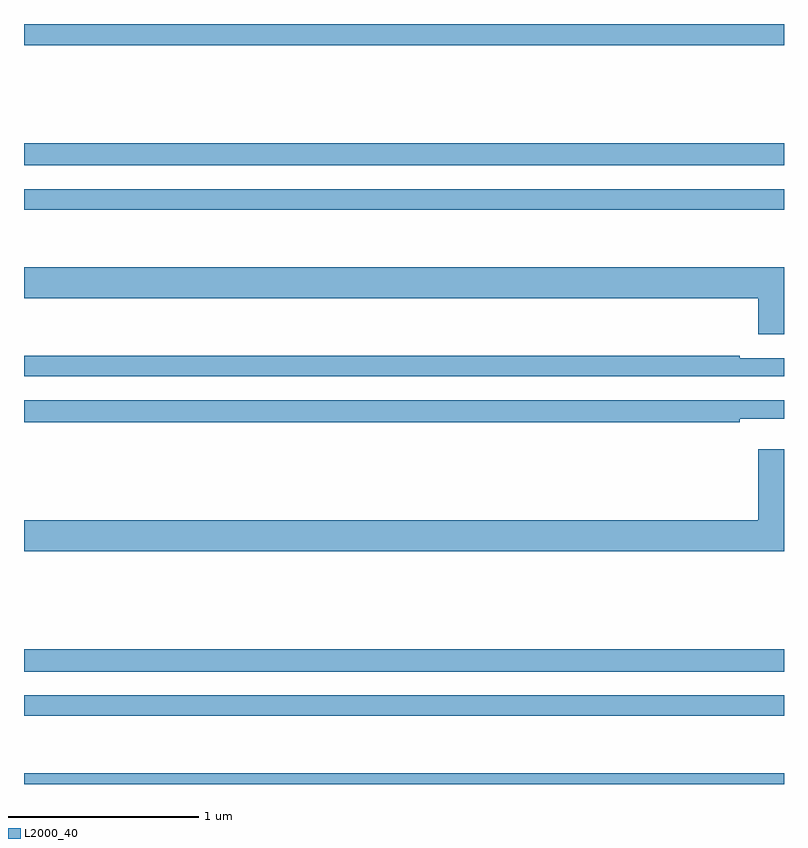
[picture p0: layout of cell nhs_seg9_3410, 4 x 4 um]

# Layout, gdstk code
import gdstk
lib = gdstk.Library(unit=1e-6, precision=1e-09)
def R(c, l, rs):  # rectangles x0, y0, x1, y1
    for r in rs: c.add(gdstk.rectangle(r[:2], r[2:], *l))
def P(c, l, *ps):  # polygons
    for p in ps: c.add(gdstk.Polygon(p, *l))
L2000_40 = (2000, 40)

nhs_seg9_3410 = lib.new_cell('nhs_seg9_3410')
R(nhs_seg9_3410, L2000_40, [(305,1224.5,309,1224.556), (305,1224.858,309,1224.966), (305,1225.092,309,1225.208), (305,1227.522,309,1227.63), (305,1227.756,309,1227.872), (305,1228.388,309,1228.5)])
P(nhs_seg9_3410, L2000_40, [(309,1227.22),(305,1227.22),(305,1227.056),(308.864,1227.056),(308.864,1226.868),(309,1226.868)],
  [(309,1226.742),(308.768,1226.742),(308.768,1226.755),(305,1226.755),(305,1226.646),(309,1226.646)],
  [(308.768,1226.423),(309,1226.423),(309,1226.52),(305,1226.52),(305,1226.404),(308.768,1226.404)],
  [(309,1226.263),(308.864,1226.263),(308.864,1225.888),(305,1225.888),(305,1225.724),(309,1225.724)])

lib.write_gds('nhs_seg9_3410.gds')
